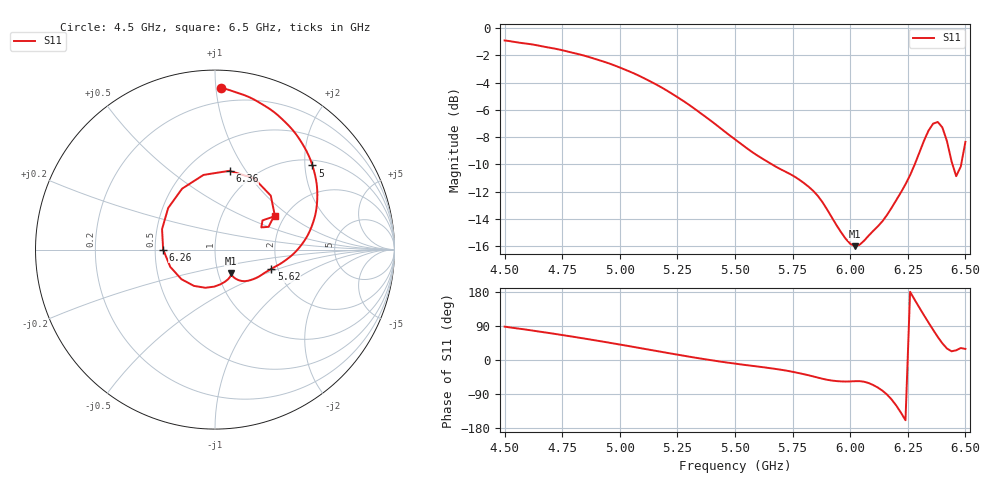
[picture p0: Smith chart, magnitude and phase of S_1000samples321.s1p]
! TOUCHSTONE file generated by CST MICROWAVE STUDIO
! Date and time: Thu Oct 27 18:40:01 2022
! Project name: L.cst
! Parameters = {Di=1.27; Epsilon_r=1.56; InnerDiameter=1.27; Length=2; Lf=10; Lg=60; OuterConductorThickness=0.2921; OuterDiameter=3.6; Wf=3; Wp=41.2; de=1.5; df=6.8; g=0.8; gx=1.91908; gy=4.12115; h=2.34; hf=1.524; px=12.866; py=10.2922; w=9.7; wx=10.9469; wy=6.17107}
! Header version: 2018
! Port assignment regex: !\s*Touchstone port\s*([0-9]+)\s*=\s*(CST MWS port|CST DS port)\s*([0-9]+|Zmin|Zmax)\s*\(\"(.*)\"\)(\s*mode\s*([0-9]+))?.*
! Touchstone port assignment:
! Touchstone port 1 = CST MWS port 1 ("")
# GHz S DB R 50
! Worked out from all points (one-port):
!   101 points, 4.5 GHz to 6.5 GHz, reference 50 ohm
!   lowest |S11| = -16.0 dB at 6.02 GHz (marker M1), VSWR 1.38, Z = 57.5 - j15.5 ohm
!   |S11| at or under -10 dB: 5.661 GHz to 6.28 GHz (619.5 MHz wide, 10.4 % of centre); 6.444 GHz to 6.482 GHz (37.65 MHz wide, 0.583 % of centre)
!   S11 on the Smith chart (normalised r, x): 4.5 GHz: 0.11, +1.03; 5 GHz: 1.13, +2.19; 5.62 GHz: 1.85, -0.45; 6.26 GHz: 0.55, +0.00; 6.36 GHz: 0.77, +0.85; 6.5 GHz: 1.78, +0.78
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4.5  -0.90 88.0
4.62  -1.19 77.8
4.76  -1.66 64.9
5  -2.89 40.8
5.12  -3.80 28.0
5.26  -5.17 13.1
5.38  -6.60 1.1
5.5  -8.16 -9.5
5.62  -9.58 -18.9
5.76  -10.91 -32.4
5.86  -12.32 -46.6
6  -15.82 -56.6
6.02  -16.00 -55.9
6.12  -14.54 -72.8
6.16  -13.71 -91.3
6.2  -12.62 -120.2
6.22  -12.06 -138.7
6.26  -10.78 179.9
6.3  -9.14 138.4
6.34  -7.51 98.8
6.36  -7.00 79.6
6.38  -6.88 61.0
6.4  -7.28 44.0
6.42  -8.29 30.3
6.44  -9.78 23.0
6.46  -10.86 25.6
6.48  -10.15 31.6
6.5  -8.35 29.2
